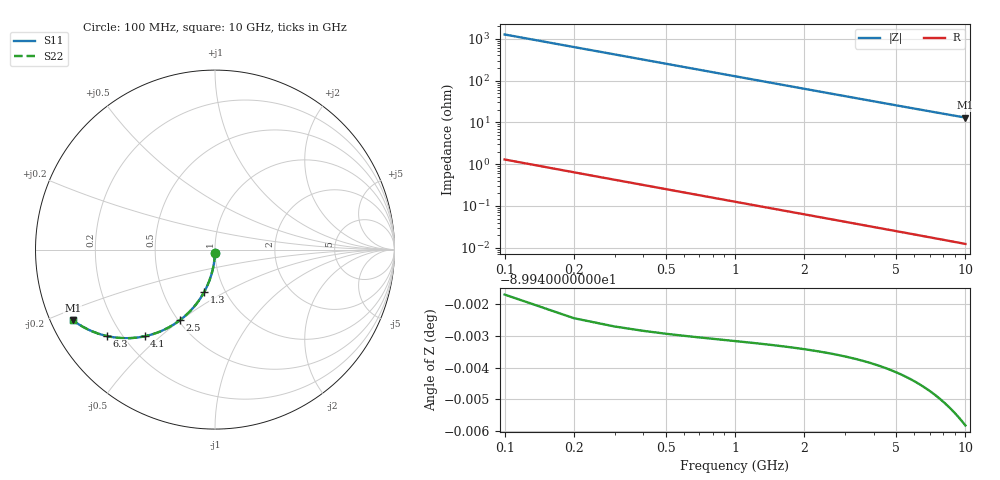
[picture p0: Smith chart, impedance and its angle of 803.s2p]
# Hz S RI R 50.00
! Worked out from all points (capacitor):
!   100 points, 100 MHz to 10 GHz, reference 50 ohm
!   read as one part in shunt: C = 1.25 pF near 100 MHz
!   lowest |Z| = 13.1 ohm at 10 GHz (marker M1)
!   S11 on the Smith chart (normalised r, x): 100 MHz: 1.00, -0.04; 1.3 GHz: 0.79, -0.40; 2.5 GHz: 0.51, -0.50; 4.1 GHz: 0.28, -0.44; 6.3 GHz: 0.14, -0.34; 10 GHz: 0.06, -0.23
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1e8  -0.000382 -0.0195  0.9996 -0.0197  0.9996 -0.0197  -0.000382 -0.0195
2e8  -0.00155 -0.0389  0.9984 -0.0394  0.9984 -0.0394  -0.00155 -0.0389
3e8  -0.00349 -0.0583  0.9965 -0.059  0.9965 -0.059  -0.00349 -0.0583
4e8  -0.00617 -0.0775  0.9938 -0.0784  0.9938 -0.0784  -0.00617 -0.0775
5e8  -0.0096 -0.0966  0.9904 -0.0977  0.9904 -0.0977  -0.0096 -0.0966
6e8  -0.0138 -0.1154  0.9862 -0.1167  0.9862 -0.1167  -0.0138 -0.1154
8e8  -0.0242 -0.1522  0.9758 -0.154  0.9758 -0.154  -0.0242 -0.1522
1e9  -0.0372 -0.1876  0.9628 -0.1899  0.9628 -0.1899  -0.0372 -0.1876
1.3e9  -0.0612 -0.2377  0.9388 -0.2407  0.9388 -0.2407  -0.0612 -0.2377
1.5e9  -0.0798 -0.2688  0.9201 -0.2723  0.9201 -0.2723  -0.0798 -0.2688
1.8e9  -0.1109 -0.3115  0.889 -0.3157  0.889 -0.3157  -0.1109 -0.3115
2.1e9  -0.1451 -0.3493  0.8549 -0.3541  0.8549 -0.3541  -0.1451 -0.3493
2.5e9  -0.1937 -0.3919  0.8062 -0.3976  0.8062 -0.3976  -0.1937 -0.3919
2.9e9  -0.2442 -0.4258  0.7558 -0.4325  0.7558 -0.4325  -0.2442 -0.4258
3.4e9  -0.3073 -0.4569  0.6926 -0.4648  0.6926 -0.4648  -0.3073 -0.4569
4.1e9  -0.3919 -0.4829  0.608 -0.4925  0.608 -0.4925  -0.3919 -0.4829
5.1e9  -0.499 -0.4935  0.5009 -0.5055  0.5009 -0.5055  -0.499 -0.4935
6.3e9  -0.6029 -0.4813  0.3969 -0.4962  0.3969 -0.4962  -0.6029 -0.4813
6.7e9  -0.6319 -0.4738  0.3679 -0.4897  0.3679 -0.4897  -0.6319 -0.4738
7.5e9  -0.6826 -0.456  0.3171 -0.4738  0.3171 -0.4738  -0.6826 -0.456
8.4e9  -0.7296 -0.4335  0.2701 -0.4537  0.2701 -0.4537  -0.7296 -0.4335
1e10  -0.7929 -0.3925  0.2068 -0.4167  0.2068 -0.4167  -0.7929 -0.3925
